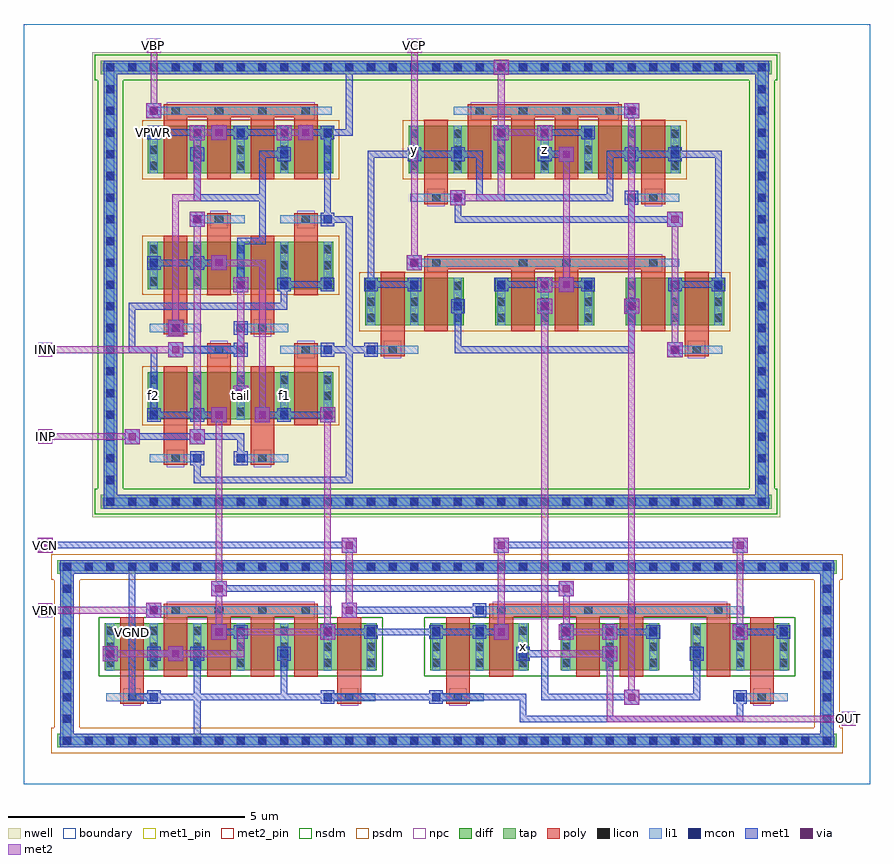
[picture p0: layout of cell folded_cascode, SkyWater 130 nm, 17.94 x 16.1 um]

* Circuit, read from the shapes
.subckt folded_cascode INN INP OUT VBN VBP VCN VCP VGND VPWR f1 f2 tail x y z
XM1 f1 VGND f1 VGND sky130_fd_pr__nfet_01v8 w=1 l=0.5 m=4
XM2 VGND VBN f1 VGND sky130_fd_pr__nfet_01v8 w=1 l=0.5 m=2
XM3 f2 VBN VGND VGND sky130_fd_pr__nfet_01v8 w=1 l=0.5 m=2
XM4 x VCN f1 VGND sky130_fd_pr__nfet_01v8 w=1 l=0.5 m=2
XM5 OUT VCN f2 VGND sky130_fd_pr__nfet_01v8 w=1 l=0.5 m=2
XM6 f2 VPWR f2 VPWR sky130_fd_pr__pfet_01v8 w=1 l=0.5 m=2
XM7 f1 VPWR f1 VPWR sky130_fd_pr__pfet_01v8 w=1 l=0.5 m=2
XM8 tail VBP VPWR VPWR sky130_fd_pr__pfet_01v8 w=1 l=0.5 m=4
XM9 tail INN f2 VPWR sky130_fd_pr__pfet_01v8 w=1 l=0.5 m=2
XM10 tail INP f1 VPWR sky130_fd_pr__pfet_01v8 w=1 l=0.5 m=2
XM11 y VPWR y VPWR sky130_fd_pr__pfet_01v8 w=1 l=0.5 m=4
XM12 x VCP y VPWR sky130_fd_pr__pfet_01v8 w=1 l=0.5 m=2
XM13 VPWR x y VPWR sky130_fd_pr__pfet_01v8 w=1 l=0.5 m=2
XM14 OUT VCP z VPWR sky130_fd_pr__pfet_01v8 w=1 l=0.5 m=2
XM15 z x VPWR VPWR sky130_fd_pr__pfet_01v8 w=1 l=0.5 m=2
.ends

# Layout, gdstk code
import gdstk
lib = gdstk.Library(unit=1e-6, precision=1e-09)
def R(c, l, rs):  # rectangles x0, y0, x1, y1
    for r in rs: c.add(gdstk.rectangle(r[:2], r[2:], *l))
def A(c, l, x, y, w, h, nx, ny, dx, dy):  # array of equal rectangles
    R(c, l, [(x+i*dx, y+j*dy, x+i*dx+w, y+j*dy+h) for i in range(nx) for j in range(ny)])
nwell = (64, 20)
diff = (65, 20)
tap = (65, 44)
poly = (66, 20)
licon = (66, 44)
li1 = (67, 20)
mcon = (67, 44)
met1_pin = (68, 16)
met1 = (68, 20)
via = (68, 44)
met2_pin = (69, 16)
met2 = (69, 20)
nsdm = (93, 44)
psdm = (94, 20)
npc = (95, 20)
boundary = (235, 4)

folded_cascode = lib.new_cell('folded_cascode')
R(folded_cascode, nwell, [(1.455,5.655,16.025,15.505)])
A(folded_cascode, diff, 8.615, 2.405, 2.09, 1, 3, 1, 2.76, 0)
A(folded_cascode, diff, 7.235, 9.72, 2.09, 1, 3, 1, 2.76, 0)
R(folded_cascode, diff, [(1.715,2.405,7.485,3.405), (2.635,7.725,6.565,8.725), (2.635,10.485,6.565,11.485), (2.635,12.94,6.565,13.94), (8.155,12.94,13.925,13.94)])
R(folded_cascode, tap, [(0.715,0.775,17.225,1.065), (0.775,0.775,1.065,4.745), (16.875,0.775,17.165,4.745), (0.715,4.455,17.225,4.745), (1.635,5.835,15.845,6.125), (1.695,5.835,1.985,15.325), (15.495,5.835,15.785,15.325), (1.635,15.035,15.845,15.325)])
A(folded_cascode, poly, 2.97, 2.275, 0.5, 1.405, 4, 1, 0.92, 0)
A(folded_cascode, poly, 3.89, 9.065, 0.5, 0.27, 3, 1, 1.84, 0)
A(folded_cascode, poly, 2.97, 12.81, 0.5, 1.45, 4, 1, 0.92, 0)
A(folded_cascode, poly, 9.41, 12.81, 0.5, 1.45, 4, 1, 0.92, 0)
R(folded_cascode, poly, [(2.05,1.705,2.55,1.975), (6.65,1.705,7.15,1.975), (8.95,1.705,9.45,1.975), (15.39,1.705,15.89,1.975), (2.05,1.84,2.55,3.535), (6.65,1.84,7.15,3.535), (8.95,1.84,9.45,3.535), (15.39,1.84,15.89,3.535), (9.87,2.275,10.37,3.68), (11.71,2.275,12.21,3.68), (12.63,2.275,13.13,3.68), (14.47,2.275,14.97,3.68), (2.97,3.545,6.23,3.815), (9.87,3.545,14.97,3.815), (2.97,6.765,3.47,7.035), (4.81,6.765,5.31,7.035), (2.97,6.9,3.47,8.855), (4.81,6.9,5.31,8.855), (3.89,7.595,4.39,9.2), (5.73,7.595,6.23,9.2), (14.01,9.065,14.51,9.335), (7.57,9.2,8.07,10.85), (14.01,9.2,14.51,10.85), (2.97,9.525,3.47,9.795), (4.81,9.525,5.31,9.795), (8.49,9.59,8.99,11.04), (10.33,9.59,10.83,11.04), (11.25,9.59,11.75,11.04), (13.09,9.59,13.59,11.04), (2.97,9.66,3.47,11.615), (4.81,9.66,5.31,11.615), (3.89,10.355,4.39,11.96), (5.73,10.355,6.23,11.96), (8.49,10.905,13.59,11.175), (3.89,11.825,4.39,12.095), (5.73,11.825,6.23,12.095), (8.49,12.285,8.99,12.555), (13.09,12.285,13.59,12.555), (8.49,12.42,8.99,14.07), (13.09,12.42,13.59,14.07), (2.97,14.125,6.23,14.395), (9.41,14.125,12.67,14.395)])
A(folded_cascode, licon, 0.835, 0.835, 0.17, 0.17, 36, 2, 0.46, 3.68)
A(folded_cascode, licon, 0.835, 1.295, 0.17, 0.17, 1, 7, 0, 0.46)
A(folded_cascode, licon, 16.935, 1.295, 0.17, 0.17, 1, 7, 0, 0.46)
A(folded_cascode, licon, 1.755, 2.48, 0.17, 0.17, 7, 3, 0.92, 0.34)
A(folded_cascode, licon, 8.655, 2.48, 0.17, 0.17, 9, 3, 0.92, 0.34)
A(folded_cascode, licon, 3.135, 3.595, 0.17, 0.17, 4, 2, 0.92, 10.58)
A(folded_cascode, licon, 1.755, 5.895, 0.17, 0.17, 31, 2, 0.46, 9.2)
A(folded_cascode, licon, 1.755, 6.355, 0.17, 0.17, 1, 19, 0, 0.46)
A(folded_cascode, licon, 15.555, 6.355, 0.17, 0.17, 1, 19, 0, 0.46)
A(folded_cascode, licon, 2.675, 7.8, 0.17, 0.17, 5, 3, 0.92, 0.34)
A(folded_cascode, licon, 4.055, 9.115, 0.17, 0.17, 3, 1, 1.84, 0)
A(folded_cascode, licon, 7.275, 9.795, 0.17, 0.17, 9, 3, 0.92, 0.34)
A(folded_cascode, licon, 2.675, 10.56, 0.17, 0.17, 5, 3, 0.92, 0.34)
A(folded_cascode, licon, 2.675, 13.015, 0.17, 0.17, 5, 3, 0.92, 0.34)
A(folded_cascode, licon, 8.195, 13.015, 0.17, 0.17, 7, 3, 0.92, 0.34)
A(folded_cascode, licon, 9.575, 14.175, 0.17, 0.17, 4, 1, 0.92, 0)
R(folded_cascode, licon, [(2.215,1.755,2.385,1.925), (6.815,1.755,6.985,1.925), (9.115,1.755,9.285,1.925), (15.555,1.755,15.725,1.925), (10.035,3.595,10.205,3.765), (11.875,3.595,12.045,3.765), (12.795,3.595,12.965,3.765), (14.635,3.595,14.805,3.765), (3.135,6.815,3.305,6.985), (4.975,6.815,5.145,6.985), (14.175,9.115,14.345,9.285), (3.135,9.575,3.305,9.745), (4.975,9.575,5.145,9.745), (8.655,10.955,8.825,11.125), (10.495,10.955,10.665,11.125), (11.415,10.955,11.585,11.125), (13.255,10.955,13.425,11.125), (4.055,11.875,4.225,12.045), (5.895,11.875,6.065,12.045), (8.655,12.335,8.825,12.505), (13.255,12.335,13.425,12.505)])
A(folded_cascode, li1, 1.755, 2.4, 0.17, 1.01, 7, 1, 0.92, 0)
A(folded_cascode, li1, 8.655, 2.4, 0.17, 1.01, 9, 1, 0.92, 0)
A(folded_cascode, li1, 2.675, 7.72, 0.17, 1.01, 5, 2, 0.92, 2.76)
A(folded_cascode, li1, 3.595, 9.115, 1.09, 0.17, 3, 1, 1.84, 0)
A(folded_cascode, li1, 7.275, 9.715, 0.17, 1.01, 9, 1, 0.92, 0)
A(folded_cascode, li1, 2.675, 12.935, 0.17, 1.01, 5, 1, 0.92, 0)
A(folded_cascode, li1, 8.195, 12.935, 0.17, 1.01, 7, 1, 0.92, 0)
R(folded_cascode, li1, [(0.755,0.835,17.185,1.005), (0.835,0.835,1.005,4.685), (16.935,0.835,17.105,4.685), (1.755,1.755,2.845,1.925), (6.355,1.755,7.445,1.925), (8.655,1.755,9.745,1.925), (15.095,1.755,16.185,1.925), (2.675,3.595,6.525,3.765), (9.575,3.595,15.265,3.765), (0.755,4.515,17.185,4.685), (1.675,5.895,15.805,6.065), (1.755,5.895,1.925,15.265), (15.555,5.895,15.725,15.265), (2.675,6.815,3.765,6.985), (4.515,6.815,5.605,6.985), (13.715,9.115,14.805,9.285), (2.675,9.575,3.765,9.745), (4.515,9.575,5.605,9.745), (8.195,10.955,13.885,11.125), (3.595,11.875,4.685,12.045), (5.435,11.875,6.525,12.045), (8.195,12.335,9.285,12.505), (12.795,12.335,13.885,12.505), (2.675,14.175,6.525,14.345), (9.115,14.175,12.965,14.345), (1.675,15.095,15.805,15.265)])
A(folded_cascode, mcon, 0.835, 0.835, 0.17, 0.17, 36, 2, 0.46, 3.68)
A(folded_cascode, mcon, 0.835, 1.295, 0.17, 0.17, 1, 3, 0, 0.46)
A(folded_cascode, mcon, 16.935, 1.295, 0.17, 0.17, 1, 7, 0, 0.46)
A(folded_cascode, mcon, 0.835, 2.675, 0.17, 0.17, 4, 1, 0.92, 0)
A(folded_cascode, mcon, 10.495, 2.675, 0.17, 0.17, 3, 1, 1.84, 0)
A(folded_cascode, mcon, 0.835, 3.135, 0.17, 0.17, 1, 3, 0, 0.46)
A(folded_cascode, mcon, 9.575, 3.135, 0.17, 0.17, 4, 1, 1.84, 0)
A(folded_cascode, mcon, 1.755, 5.895, 0.17, 0.17, 31, 2, 0.46, 9.2)
A(folded_cascode, mcon, 1.755, 6.355, 0.17, 0.17, 1, 3, 0, 0.46)
A(folded_cascode, mcon, 15.555, 6.355, 0.17, 0.17, 1, 19, 0, 0.46)
A(folded_cascode, mcon, 1.755, 7.735, 0.17, 0.17, 3, 2, 0.92, 3.22)
A(folded_cascode, mcon, 1.755, 8.195, 0.17, 0.17, 1, 3, 0, 0.46)
A(folded_cascode, mcon, 1.755, 9.575, 0.17, 0.17, 3, 1, 1.38, 0)
A(folded_cascode, mcon, 9.115, 10.035, 0.17, 0.17, 3, 2, 1.84, 3.22)
A(folded_cascode, mcon, 4.515, 10.495, 0.17, 0.17, 5, 1, 0.92, 0)
A(folded_cascode, mcon, 10.035, 10.495, 0.17, 0.17, 3, 1, 1.84, 0)
A(folded_cascode, mcon, 1.755, 11.415, 0.17, 0.17, 1, 4, 0, 0.46)
A(folded_cascode, mcon, 1.755, 13.255, 0.17, 0.17, 3, 1, 1.84, 0)
A(folded_cascode, mcon, 1.755, 13.715, 0.17, 0.17, 1, 3, 0, 0.46)
A(folded_cascode, mcon, 2.675, 13.715, 0.17, 0.17, 3, 1, 1.84, 0)
R(folded_cascode, mcon, [(2.675,1.755,2.845,1.925), (6.355,1.755,6.525,1.925), (8.655,1.755,8.825,1.925), (15.095,1.755,15.265,1.925), (5.435,2.675,5.605,2.845), (4.515,3.135,4.685,3.305), (6.355,3.135,6.525,3.305), (7.275,3.135,7.445,3.305), (8.655,3.135,8.825,3.305), (16.015,3.135,16.185,3.305), (2.675,3.595,2.845,3.765), (9.575,3.595,9.745,3.765), (3.595,6.815,3.765,6.985), (4.515,6.815,4.685,6.985), (5.435,7.735,5.605,7.905), (6.355,7.735,6.525,7.905), (4.515,8.195,4.685,8.365), (4.515,9.115,4.685,9.285), (6.355,9.115,6.525,9.285), (7.275,9.115,7.445,9.285), (13.715,9.115,13.885,9.285), (1.755,10.035,1.925,10.205), (1.755,10.495,1.925,10.665), (14.635,10.495,14.805,10.665), (8.195,10.955,8.365,11.125), (3.595,11.875,3.765,12.045), (6.355,11.875,6.525,12.045), (9.115,12.335,9.285,12.505), (12.795,12.335,12.965,12.505), (8.195,13.255,8.365,13.425), (13.715,13.255,13.885,13.425), (10.035,13.715,10.205,13.885), (11.875,13.715,12.045,13.885), (2.675,14.175,2.845,14.345), (12.795,14.175,12.965,14.345)])
R(folded_cascode, met1_pin, [(2.23,1.77,2.37,4.67), (2.615,13.655,2.905,13.945)])
A(folded_cascode, met1, 1.695, 2.615, 0.29, 0.29, 3, 1, 0.92, 0)
A(folded_cascode, met1, 10.435, 2.615, 0.29, 0.29, 3, 1, 1.84, 0)
A(folded_cascode, met1, 9.515, 3.075, 0.29, 0.29, 4, 1, 1.84, 0)
A(folded_cascode, met1, 2.615, 7.675, 0.29, 0.29, 1, 3, 0, 3.22)
A(folded_cascode, met1, 9.055, 9.975, 0.29, 0.29, 3, 2, 1.84, 3.22)
A(folded_cascode, met1, 4.455, 10.435, 0.29, 0.29, 5, 1, 0.92, 0)
A(folded_cascode, met1, 9.975, 10.435, 0.29, 0.29, 3, 1, 1.84, 0)
A(folded_cascode, met1, 2.615, 13.655, 0.29, 0.29, 3, 1, 1.84, 0)
R(folded_cascode, met1, [(0.775,0.775,17.165,1.065), (0.775,0.775,1.065,4.745), (16.875,0.775,17.165,4.745), (3.61,0.85,3.75,0.99), (3.61,0.85,3.75,2.83), (10.51,1.31,10.65,1.91), (10.51,1.31,15.25,1.45), (15.11,1.31,15.25,1.91), (12.72,1.68,13.04,2), (2.615,1.695,2.905,1.985), (6.295,1.695,6.585,1.985), (8.595,1.695,8.885,1.985), (15.035,1.695,15.325,1.985), (2.23,1.77,2.37,4.67), (2.23,1.77,2.83,1.91), (2.69,1.77,3.75,1.91), (3.61,1.77,6.51,1.91), (5.45,1.77,5.59,2.83), (6.37,1.77,8.81,1.91), (8.67,1.77,10.65,1.91), (10.97,1.77,14.33,1.91), (10.97,1.77,11.11,2.83), (14.19,1.77,14.33,2.83), (1.68,2.6,2,2.92), (3.06,2.6,3.38,2.92), (12.26,2.6,12.58,2.92), (5.375,2.615,5.665,2.905), (2.69,2.69,3.29,2.83), (10.51,2.69,11.11,2.83), (3.98,3.06,4.3,3.38), (6.28,3.06,6.6,3.38), (9.96,3.06,10.28,3.38), (11.34,3.06,11.66,3.38), (12.26,3.06,12.58,3.38), (15.02,3.06,15.34,3.38), (4.455,3.075,4.745,3.365), (6.295,3.075,6.585,3.365), (7.215,3.075,7.505,3.365), (8.595,3.075,8.885,3.365), (15.955,3.075,16.245,3.365), (4.07,3.15,4.67,3.29), (6.37,3.15,7.43,3.29), (7.29,3.15,8.81,3.29), (8.67,3.15,9.73,3.29), (9.59,3.15,10.19,3.29), (12.35,3.15,13.41,3.29), (15.11,3.15,16.17,3.29), (2.6,3.52,2.92,3.84), (6.74,3.52,7.06,3.84), (2.615,3.535,2.905,3.825), (9.515,3.535,9.805,3.825), (6.83,3.61,9.73,3.75), (3.98,3.98,4.3,4.3), (11.34,3.98,11.66,4.3), (4.07,4.07,11.57,4.21), (0.775,4.455,17.165,4.745), (2.23,4.53,2.37,4.67), (0.3,4.9,0.62,5.22), (6.74,4.9,7.06,5.22), (9.96,4.9,10.28,5.22), (15.02,4.9,15.34,5.22), (0.39,4.99,6.97,5.13), (10.05,4.99,15.25,5.13), (1.695,5.835,15.785,6.125), (1.695,5.835,1.985,15.325), (15.495,5.835,15.785,15.325), (3.61,6.37,6.97,6.51), (3.61,6.37,3.75,6.97), (6.83,6.37,6.97,9.27), (3.535,6.755,3.825,7.045), (4.455,6.755,4.745,7.045), (4.53,6.83,4.67,7.43), (2.14,7.2,2.46,7.52), (3.52,7.2,3.84,7.52), (2.23,7.29,4.67,7.43), (3.98,7.66,4.3,7.98), (4.9,7.66,5.22,7.98), (6.28,7.66,6.6,7.98), (3.535,7.675,3.825,7.965), (5.375,7.675,5.665,7.965), (6.295,7.675,6.585,7.965), (2.69,7.75,3.75,7.89), (2.69,7.75,2.83,9.27), (3.61,7.75,4.21,7.89), (4.99,7.75,5.59,7.89), (5.45,7.75,6.51,7.89), (4.44,8.12,4.76,8.44), (4.455,8.135,4.745,8.425), (3.06,9.04,3.38,9.36), (13.64,9.04,13.96,9.36), (4.455,9.055,4.745,9.345), (6.295,9.055,6.585,9.345), (7.215,9.055,7.505,9.345), (13.655,9.055,13.945,9.345), (2.23,9.13,2.83,9.27), (2.23,9.13,2.37,10.19), (3.15,9.13,4.67,9.27), (4.53,9.13,4.67,9.73), (6.37,9.13,6.97,9.27), (6.83,9.13,6.97,12.03), (6.83,9.13,7.43,9.27), (9.13,9.13,9.27,10.19), (9.13,9.13,12.95,9.27), (12.81,9.13,12.95,10.19), (3.06,9.5,3.38,9.82), (3.075,9.515,3.365,9.805), (4.455,9.515,4.745,9.805), (10.88,9.96,11.2,10.28), (12.72,9.96,13.04,10.28), (2.23,10.05,5.59,10.19), (5.45,10.05,5.59,10.65), (4.44,10.42,4.76,10.74), (10.88,10.42,11.2,10.74), (11.34,10.42,11.66,10.74), (14.575,10.435,14.865,10.725), (4.53,10.51,4.67,11.57), (5.45,10.51,6.51,10.65), (7.29,10.51,8.35,10.65), (7.29,10.51,7.43,13.41), (10.05,10.51,11.11,10.65), (11.43,10.51,12.03,10.65), (13.73,10.51,14.79,10.65), (14.65,10.51,14.79,13.41), (3.98,10.88,4.3,11.2), (8.12,10.88,8.44,11.2), (3.535,10.895,3.825,11.185), (8.135,10.895,8.425,11.185), (2.69,10.97,3.75,11.11), (3.61,10.97,4.21,11.11), (4.53,11.43,5.13,11.57), (4.99,11.43,5.13,13.41), (3.52,11.8,3.84,12.12), (13.64,11.8,13.96,12.12), (3.535,11.815,3.825,12.105), (6.295,11.815,6.585,12.105), (6.37,11.89,6.97,12.03), (6.37,11.89,6.51,13.87), (9.13,11.89,12.95,12.03), (9.13,11.89,9.27,12.49), (12.81,11.89,13.87,12.03), (12.81,11.89,12.95,12.49), (9.04,12.26,9.36,12.58), (9.055,12.275,9.345,12.565), (12.735,12.275,13.025,12.565), (3.61,12.35,5.13,12.49), (3.61,12.35,3.75,13.41), (9.59,12.35,12.49,12.49), (9.59,12.35,9.73,13.41), (12.35,12.35,12.49,13.41), (11.34,13.18,11.66,13.5), (3.535,13.195,3.825,13.485), (5.375,13.195,5.665,13.485), (8.135,13.195,8.425,13.485), (13.655,13.195,13.945,13.485), (4.99,13.27,5.59,13.41), (7.29,13.27,8.35,13.41), (8.21,13.27,9.27,13.41), (9.13,13.27,9.73,13.41), (10.97,13.27,11.57,13.41), (12.35,13.27,12.95,13.41), (12.81,13.27,13.87,13.41), (13.73,13.27,14.79,13.41), (3.52,13.64,3.84,13.96), (3.98,13.64,4.3,13.96), (5.36,13.64,5.68,13.96), (5.82,13.64,6.14,13.96), (9.96,13.64,10.28,13.96), (10.88,13.64,11.2,13.96), (9.975,13.655,10.265,13.945), (11.815,13.655,12.105,13.945), (2.69,13.73,3.75,13.87), (4.07,13.73,4.67,13.87), (4.53,13.73,5.59,13.87), (5.91,13.73,6.51,13.87), (6.37,13.73,6.97,13.87), (6.83,13.73,6.97,15.25), (10.97,13.73,12.03,13.87), (2.6,14.1,2.92,14.42), (12.72,14.1,13.04,14.42), (12.735,14.115,13.025,14.405), (9.96,15.02,10.28,15.34), (1.695,15.035,15.785,15.325), (6.83,15.11,10.19,15.25), (10.05,15.11,10.19,15.25), (10.05,15.11,15.71,15.25), (15.57,15.11,15.71,15.25)])
R(folded_cascode, via, [(12.805,1.765,12.955,1.915), (1.765,2.685,1.915,2.835), (3.145,2.685,3.295,2.835), (12.345,2.685,12.495,2.835), (4.065,3.145,4.215,3.295), (6.365,3.145,6.515,3.295), (10.045,3.145,10.195,3.295), (11.425,3.145,11.575,3.295), (12.345,3.145,12.495,3.295), (15.105,3.145,15.255,3.295), (2.685,3.605,2.835,3.755), (6.825,3.605,6.975,3.755), (4.065,4.065,4.215,4.215), (11.425,4.065,11.575,4.215), (0.385,4.985,0.535,5.135), (6.825,4.985,6.975,5.135), (10.045,4.985,10.195,5.135), (15.105,4.985,15.255,5.135), (2.225,7.285,2.375,7.435), (3.605,7.285,3.755,7.435), (4.065,7.745,4.215,7.895), (4.985,7.745,5.135,7.895), (6.365,7.745,6.515,7.895), (4.525,8.205,4.675,8.355), (3.145,9.125,3.295,9.275), (13.725,9.125,13.875,9.275), (3.145,9.585,3.295,9.735), (10.965,10.045,11.115,10.195), (12.805,10.045,12.955,10.195), (4.525,10.505,4.675,10.655), (10.965,10.505,11.115,10.655), (11.425,10.505,11.575,10.655), (4.065,10.965,4.215,11.115), (8.205,10.965,8.355,11.115), (3.605,11.885,3.755,12.035), (13.725,11.885,13.875,12.035), (9.125,12.345,9.275,12.495), (11.425,13.265,11.575,13.415), (3.605,13.725,3.755,13.875), (4.065,13.725,4.215,13.875), (5.445,13.725,5.595,13.875), (5.905,13.725,6.055,13.875), (10.045,13.725,10.195,13.875), (10.965,13.725,11.115,13.875), (2.685,14.185,2.835,14.335), (12.805,14.185,12.955,14.335), (10.045,15.105,10.195,15.255)])
R(folded_cascode, met2_pin, [(17.33,1.23,17.63,1.53), (0.31,3.53,0.61,3.83), (0.31,4.91,0.61,5.21), (0.31,7.21,0.61,7.51), (0.31,9.05,0.61,9.35), (2.61,15.49,2.91,15.79), (8.13,15.49,8.43,15.79)])
R(folded_cascode, met2, [(17.33,1.23,17.63,1.53), (12.35,1.31,12.49,2.83), (12.35,1.31,17.55,1.45), (17.41,1.31,17.55,1.45), (12.72,1.68,13.04,2), (12.81,1.77,12.95,10.19), (1.68,2.6,2,2.92), (3.06,2.6,3.38,2.92), (12.26,2.6,12.58,2.92), (1.77,2.69,3.29,2.83), (3.15,2.69,4.67,2.83), (4.53,2.69,4.67,3.29), (10.97,2.69,12.49,2.83), (10.97,2.69,11.11,10.19), (3.98,3.06,4.3,3.38), (6.28,3.06,6.6,3.38), (9.96,3.06,10.28,3.38), (11.34,3.06,11.66,3.38), (12.26,3.06,12.58,3.38), (15.02,3.06,15.34,3.38), (4.07,3.15,4.21,7.89), (4.53,3.15,6.51,3.29), (6.37,3.15,6.51,7.89), (10.05,3.15,10.19,5.13), (11.43,3.15,11.57,4.21), (11.43,3.15,12.49,3.29), (15.11,3.15,15.25,5.13), (2.6,3.52,2.92,3.84), (6.74,3.52,7.06,3.84), (0.31,3.53,0.61,3.83), (0.39,3.61,0.53,3.75), (0.39,3.61,2.83,3.75), (6.83,3.61,6.97,5.13), (3.98,3.98,4.3,4.3), (11.34,3.98,11.66,4.3), (0.3,4.9,0.62,5.22), (6.74,4.9,7.06,5.22), (9.96,4.9,10.28,5.22), (15.02,4.9,15.34,5.22), (0.31,4.91,0.61,5.21), (0.39,4.99,0.53,5.13), (2.14,7.2,2.46,7.52), (3.52,7.2,3.84,7.52), (0.31,7.21,0.61,7.51), (0.39,7.29,0.53,7.43), (0.39,7.29,2.37,7.43), (3.61,7.29,3.75,12.03), (3.98,7.66,4.3,7.98), (4.9,7.66,5.22,7.98), (6.28,7.66,6.6,7.98), (4.99,7.75,5.13,11.11), (4.44,8.12,4.76,8.44), (4.53,8.21,4.67,10.65), (3.06,9.04,3.38,9.36), (13.64,9.04,13.96,9.36), (0.31,9.05,0.61,9.35), (0.39,9.13,0.53,9.27), (0.39,9.13,3.29,9.27), (13.73,9.13,13.87,12.03), (3.06,9.5,3.38,9.82), (3.15,9.59,3.29,12.49), (10.88,9.96,11.2,10.28), (12.72,9.96,13.04,10.28), (12.81,10.05,12.95,14.33), (4.44,10.42,4.76,10.74), (10.88,10.42,11.2,10.74), (11.34,10.42,11.66,10.74), (10.97,10.51,11.57,10.65), (11.43,10.51,11.57,13.41), (3.98,10.88,4.3,11.2), (8.12,10.88,8.44,11.2), (4.07,10.97,5.13,11.11), (8.21,10.97,8.35,15.71), (3.52,11.8,3.84,12.12), (13.64,11.8,13.96,12.12), (9.04,12.26,9.36,12.58), (3.15,12.35,3.75,12.49), (3.61,12.35,3.75,13.87), (9.13,12.35,10.19,12.49), (10.05,12.35,10.19,13.87), (11.34,13.18,11.66,13.5), (3.52,13.64,3.84,13.96), (3.98,13.64,4.3,13.96), (5.36,13.64,5.68,13.96), (5.82,13.64,6.14,13.96), (9.96,13.64,10.28,13.96), (10.88,13.64,11.2,13.96), (3.61,13.73,4.21,13.87), (5.45,13.73,6.05,13.87), (10.05,13.73,10.19,15.25), (10.05,13.73,11.11,13.87), (2.6,14.1,2.92,14.42), (12.72,14.1,13.04,14.42), (2.69,14.19,2.83,15.71), (9.96,15.02,10.28,15.34), (2.61,15.49,2.91,15.79), (8.13,15.49,8.43,15.79), (2.69,15.57,2.83,15.71), (8.21,15.57,8.35,15.71)])
R(folded_cascode, nsdm, [(1.59,2.28,7.61,3.53), (8.49,2.28,16.35,3.53), (1.51,5.71,15.97,6.25), (1.57,6.25,2.11,14.91), (15.37,6.25,15.91,14.91), (1.51,14.91,15.97,15.45)])
R(folded_cascode, psdm, [(0.59,0.65,17.35,1.19), (0.65,1.19,1.19,4.33), (16.75,1.19,17.29,4.33), (0.59,4.33,17.35,4.87), (2.51,7.6,6.69,8.85), (7.11,9.595,14.97,10.845), (2.51,10.36,6.69,11.61), (2.51,12.815,6.69,14.065), (8.03,12.815,14.05,14.065)])
A(folded_cascode, npc, 3.955, 9.015, 0.37, 0.37, 3, 1, 1.84, 0)
R(folded_cascode, npc, [(2.115,1.655,2.485,2.025), (6.715,1.655,7.085,2.025), (9.015,1.655,9.385,2.025), (15.455,1.655,15.825,2.025), (3.035,3.495,6.165,3.865), (9.935,3.495,14.905,3.865), (3.035,6.715,3.405,7.085), (4.875,6.715,5.245,7.085), (14.075,9.015,14.445,9.385), (3.035,9.475,3.405,9.845), (4.875,9.475,5.245,9.845), (8.555,10.855,13.525,11.225), (3.955,11.775,4.325,12.145), (5.795,11.775,6.165,12.145), (8.555,12.235,8.925,12.605), (13.155,12.235,13.525,12.605), (3.035,14.075,6.165,14.445), (9.475,14.075,12.605,14.445)])
R(folded_cascode, boundary, [(0,0,17.94,16.1)])
folded_cascode.add(gdstk.Label('f2', (2.76,8.225), layer=67, texttype=5))
folded_cascode.add(gdstk.Label('tail', (4.6,8.225), layer=67, texttype=5))
folded_cascode.add(gdstk.Label('f1', (5.52,8.225), layer=67, texttype=5))
folded_cascode.add(gdstk.Label('x', (10.58,2.905), layer=67, texttype=5))
folded_cascode.add(gdstk.Label('y', (8.28,13.44), layer=67, texttype=5))
folded_cascode.add(gdstk.Label('z', (11.04,13.44), layer=67, texttype=5))
folded_cascode.add(gdstk.Label('VPWR', (2.76,13.8), layer=68, texttype=5))
folded_cascode.add(gdstk.Label('VGND', (2.3,3.22), layer=68, texttype=5))
folded_cascode.add(gdstk.Label('INP', (0.46,7.36), layer=69, texttype=5))
folded_cascode.add(gdstk.Label('INN', (0.46,9.2), layer=69, texttype=5))
folded_cascode.add(gdstk.Label('VBP', (2.76,15.64), layer=69, texttype=5))
folded_cascode.add(gdstk.Label('VBN', (0.46,3.68), layer=69, texttype=5))
folded_cascode.add(gdstk.Label('VCN', (0.46,5.06), layer=69, texttype=5))
folded_cascode.add(gdstk.Label('VCP', (8.28,15.64), layer=69, texttype=5))
folded_cascode.add(gdstk.Label('OUT', (17.48,1.38), layer=69, texttype=5))
folded_cascode.add(gdstk.Label('VPWR', (2.76,13.8), layer=68, texttype=16))
folded_cascode.add(gdstk.Label('VGND', (2.3,3.22), layer=68, texttype=16))
folded_cascode.add(gdstk.Label('INP', (0.46,7.36), layer=69, texttype=16))
folded_cascode.add(gdstk.Label('INN', (0.46,9.2), layer=69, texttype=16))
folded_cascode.add(gdstk.Label('VBP', (2.76,15.64), layer=69, texttype=16))
folded_cascode.add(gdstk.Label('VBN', (0.46,3.68), layer=69, texttype=16))
folded_cascode.add(gdstk.Label('VCN', (0.46,5.06), layer=69, texttype=16))
folded_cascode.add(gdstk.Label('VCP', (8.28,15.64), layer=69, texttype=16))
folded_cascode.add(gdstk.Label('OUT', (17.48,1.38), layer=69, texttype=16))

lib.write_gds('folded_cascode.gds')
